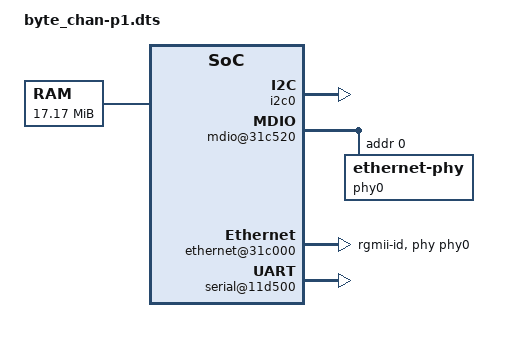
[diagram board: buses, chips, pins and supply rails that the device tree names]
/ {
	compatible = "fsl,hv-MPC8578SIM",
	             "fsl,hv-e500mc-partition",
	             "fsl,hv-partition",
	             "fsl,MPC8578SIM";

	#address-cells = <2>;
	#size-cells = <1>;

	cpus {
		#address-cells = <1>;
		#size-cells = <0>;

		cpu@0 {
			device_type = "cpu";
			compatible = "fsl,e500mc", "fsl,e500";
			reg = <0>;
			d-cache-line-size = <20>;
			i-cache-line-size = <20>;
			d-cache-size = <8000>;
			i-cache-size = <8000>;
			timebase-frequency = <d#8333333>;
			bus-frequency = <d#66666666>;
			clock-frequency = <d#66666666>;
		};

		cpu@1 {
			device_type = "cpu";
			compatible = "fsl,e500mc", "fsl,e500";
			reg = <1>;
			d-cache-line-size = <20>;
			i-cache-line-size = <20>;
			d-cache-size = <8000>;
			i-cache-size = <8000>;
			timebase-frequency = <d#8333333>;
			bus-frequency = <d#66666666>;
			clock-frequency = <d#66666666>;
		};
	};

	memory {
		reg = <0 0 17000000 0 17000000 1000000>;
		device_type = "memory";
	};

	ccsr@fe000000 {
		#address-cells = <1>;
		#size-cells = <1>;
		compatible = "simple-bus";
		device_type = "soc";
		ranges = <0 0 fe000000 400000>;

		i2c0: i2c@118000 {
			device_type = "i2c";
			compatible = "fsl,mpc8578-i2c",
			             "fsl,i2c", "fsl-i2c";
			reg = <118000 100>;
//			interrupts = <1e 2>;
//			interrupt-parent = <&mpic>;
			dfsrr;
		};

		mdio@31c520 {
			#address-cells = <1>;
			#size-cells = <0>;
			device_type = "mdio";
			compatible = "fsl,mpc8578-gianfar-mdio",
			             "fsl,gianfar-mdio",
			             "gianfar";
			reg = <31c520 20>;
			phy0: ethernet-phy@0 {
//				interrupt-parent = <&mpic>;
				interrupts = <a 1>;
				reg = <0>;
			};
		};

		ethernet@31c000 {
			#address-cells = <1>;
			#size-cells = <0>;
			device_type = "network";
			model = "eTSEC";
			compatible = "fsl,mpc8578-gianfar",
			             "fsl,gianfar",
			             "gianfar";
			reg = <31c000 1000>;
			local-mac-address = [ 00 00 00 00 00 00 ];
//			interrupts = <1d 2 1e 2 22 2>;
//			interrupt-parent = <&mpic>;
			phy-handle = <&phy0>;
			phy-connection-type = "rgmii-id";
		};

		serial@11d500 {
			device_type = "serial";
			compatible = "fsl,mpc8578-uart",
			             "fsl,ns16550", "ns16550";
			reg = <11d500 100>;
			clock-frequency = <0>;
//			interrupts = <1d 2>;
//			interrupt-parent = <&mpic>;
		};
	};

	vmpic:vmpic {
		compatible = "fsl,hv-vmpic";
		interrupt-controller;
		#interrupt-cells = <2>;
		fsl,hv-phandle-ref = <&vmpic>;
	};

	handles {
		#address-cells = <1>;
		#size-cells = <0>;
		compatible = "fsl,hv-handles";
		interrupt-parent = <&vmpic>;

		byte-channelA {
			compatible = "fsl,hv-byte-channel-handle";
			fsl,endpoint = "byte-channel3";
		};

		byte-channelB {
			compatible = "fsl,hv-byte-channel-handle";
			fsl,endpoint = "byte-channel3";
		};
	};

	chosen {
		linux,stdout-path = "/ccsr/serial@11d500";
		bootargs = "console=ttyS0,115200";
	};

	aliases {
		stdout = "/ccsr/serial@11d500";
	};
};
